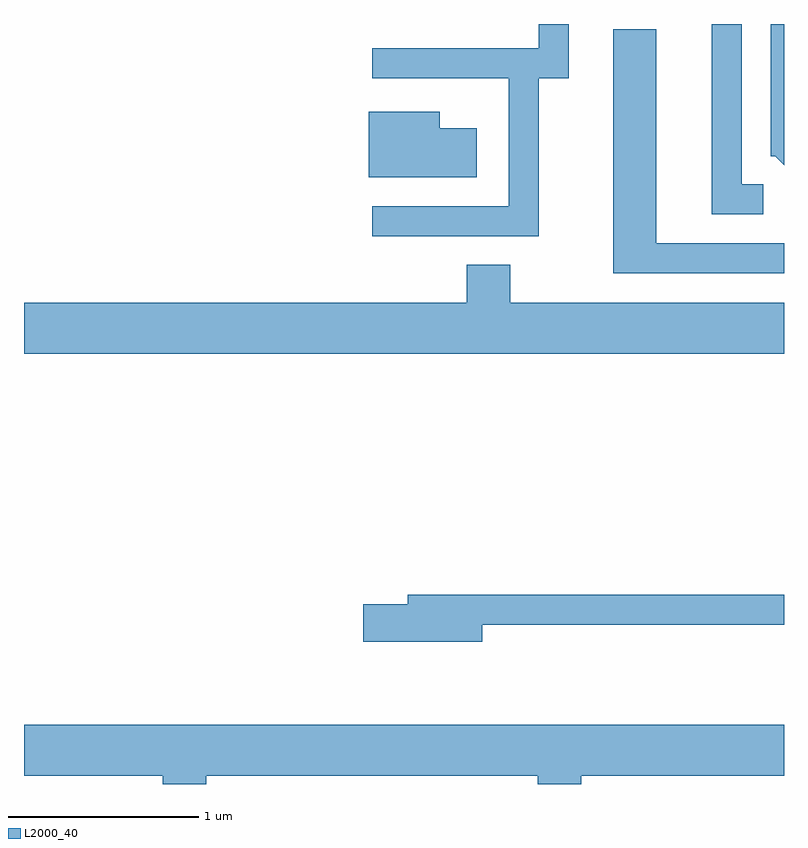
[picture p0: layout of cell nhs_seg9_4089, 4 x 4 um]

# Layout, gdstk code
import gdstk
lib = gdstk.Library(unit=1e-6, precision=1e-09)
def P(c, l, *ps):  # polygons
    for p in ps: c.add(gdstk.Polygon(p, *l))
L2000_40 = (2000, 40)

nhs_seg9_4089 = lib.new_cell('nhs_seg9_4089')
P(nhs_seg9_4089, L2000_40, [(309.611,2002.432),(309.541,2002.432),(309.541,2001.736),(309.564,2001.736),(309.611,2001.689)],
  [(308.319,2002.146),(308.479,2002.146),(308.479,2002.432),(308.321,2002.432),(308.321,2002.304),(307.443,2002.304),(307.443,2002.146),(308.161,2002.146),(308.161,2001.474),(307.443,2001.474),(307.443,2001.316),(308.319,2001.316)],
  [(309.503,2001.589),(309.389,2001.589),(309.389,2002.432),(309.231,2002.432),(309.231,2001.431),(309.503,2001.431)],
  [(309.611,2001.279),(308.939,2001.279),(308.939,2002.404),(308.711,2002.404),(308.711,2001.121),(309.611,2001.121)],
  [(307.994,2001.884),(307.799,2001.884),(307.799,2001.969),(307.426,2001.969),(307.426,2001.626),(307.994,2001.626)],
  [(309.611,2000.964),(308.169,2000.964),(308.169,2001.164),(307.941,2001.164),(307.941,2000.964),(305.611,2000.964),(305.611,2000.696),(309.611,2000.696)],
  [(308.024,1999.271),(309.611,1999.271),(309.611,1999.429),(307.631,1999.429),(307.631,1999.379),(307.396,1999.379),(307.396,1999.181),(308.024,1999.181)],
  [(306.569,1998.476),(308.316,1998.476),(308.316,1998.432),(308.544,1998.432),(308.544,1998.476),(309.611,1998.476),(309.611,1998.744),(305.611,1998.744),(305.611,1998.476),(306.341,1998.476),(306.341,1998.432),(306.569,1998.432)])

lib.write_gds('nhs_seg9_4089.gds')
